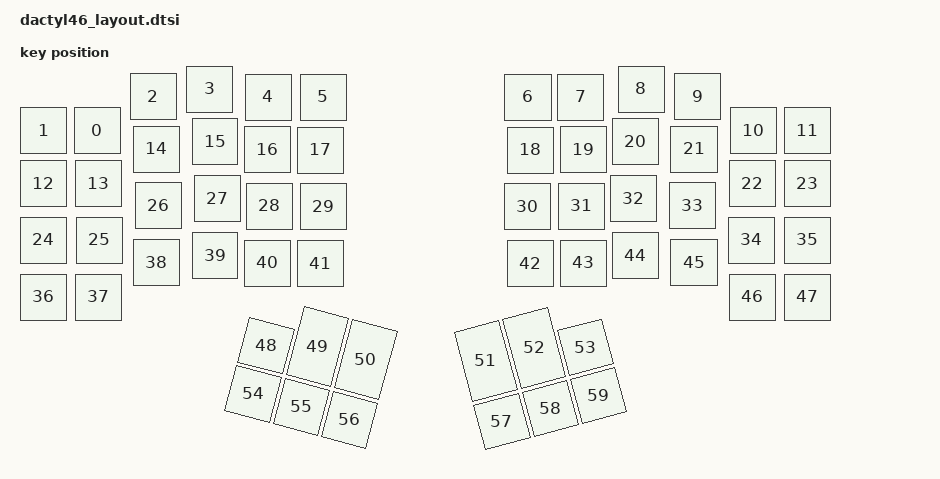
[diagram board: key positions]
#include <physical_layouts.dtsi>

/ {
    dactyl46_layout: dactyl_layout466 {
        compatible = "zmk,physical-layout";
        display-name = "default_transform";

        // kscan = <&kscan0>;
        // transform = <&default_transform>;

        keys  //                     w   h    x    y     rot    rx    ry
            = <&key_physical_attrs 100 100  108   83       0     0     0>
            , <&key_physical_attrs 100 100    1   83       0     0     0>
            , <&key_physical_attrs 100 100  220   15       0     0     0>
            , <&key_physical_attrs 100 100  333    0       0     0     0>
            , <&key_physical_attrs 100 100  450   16       0     0     0>
            , <&key_physical_attrs 100 100  560   16       0     0     0>
            , <&key_physical_attrs 100 100  970   16       0     0     0>
            , <&key_physical_attrs 100 100 1075   16       0     0     0>
            , <&key_physical_attrs 100 100 1196    0       0     0     0>
            , <&key_physical_attrs 100 100 1309   15       0     0     0>
            , <&key_physical_attrs 100 100 1421   83       0     0     0>
            , <&key_physical_attrs 100 100 1529   83       0     0     0>
            , <&key_physical_attrs 100 100    0  189       0     0     0>
            , <&key_physical_attrs 100 100  111  189       0     0     0>
            , <&key_physical_attrs 100 100  227  120       0     0     0>
            , <&key_physical_attrs 100 100  344  105       0     0     0>
            , <&key_physical_attrs 100 100  448  121       0     0     0>
            , <&key_physical_attrs 100 100  554  122       0     0     0>
            , <&key_physical_attrs 100 100  975  122       0     0     0>
            , <&key_physical_attrs 100 100 1081  121       0     0     0>
            , <&key_physical_attrs 100 100 1185  105       0     0     0>
            , <&key_physical_attrs 100 100 1302  120       0     0     0>
            , <&key_physical_attrs 100 100 1418  189       0     0     0>
            , <&key_physical_attrs 100 100 1529  189       0     0     0>
            , <&key_physical_attrs 100 100    0  302       0     0     0>
            , <&key_physical_attrs 100 100  113  302       0     0     0>
            , <&key_physical_attrs 100 100  230  233       0     0     0>
            , <&key_physical_attrs 100 100  348  219       0     0     0>
            , <&key_physical_attrs 100 100  453  234       0     0     0>
            , <&key_physical_attrs 100 100  560  235       0     0     0>
            , <&key_physical_attrs 100 100  969  235       0     0     0>
            , <&key_physical_attrs 100 100 1076  234       0     0     0>
            , <&key_physical_attrs 100 100 1181  219       0     0     0>
            , <&key_physical_attrs 100 100 1299  233       0     0     0>
            , <&key_physical_attrs 100 100 1416  302       0     0     0>
            , <&key_physical_attrs 100 100 1529  302       0     0     0>
            , <&key_physical_attrs 100 100    0  416       0     0     0>
            , <&key_physical_attrs 100 100  111  416       0     0     0>
            , <&key_physical_attrs 100 100  227  347       0     0     0>
            , <&key_physical_attrs 100 100  344  333       0     0     0>
            , <&key_physical_attrs 100 100  448  348       0     0     0>
            , <&key_physical_attrs 100 100  554  349       0     0     0>
            , <&key_physical_attrs 100 100  975  349       0     0     0>
            , <&key_physical_attrs 100 100 1081  348       0     0     0>
            , <&key_physical_attrs 100 100 1185  333       0     0     0>
            , <&key_physical_attrs 100 100 1302  347       0     0     0>
            , <&key_physical_attrs 100 100 1418  416       0     0     0>
            , <&key_physical_attrs 100 100 1529  416       0     0     0>
            , <&key_physical_attrs 100 100  575  366    1500     0     0>
            , <&key_physical_attrs 100 150  675  316    1500     0     0>
            , <&key_physical_attrs 100 150  775  316    1500     0     0>
            , <&key_physical_attrs 100 150  700  741 (-1500)     0     0>
            , <&key_physical_attrs 100 150  800  741 (-1500)     0     0>
            , <&key_physical_attrs 100 100  900  791 (-1500)     0     0>
            , <&key_physical_attrs 100 100  575  466    1500     0     0>
            , <&key_physical_attrs 100 100  675  466    1500     0     0>
            , <&key_physical_attrs 100 100  775  466    1500     0     0>
            , <&key_physical_attrs 100 100  700  891 (-1500)     0     0>
            , <&key_physical_attrs 100 100  800  891 (-1500)     0     0>
            , <&key_physical_attrs 100 100  900  891 (-1500)     0     0>
            ;
    };
};
